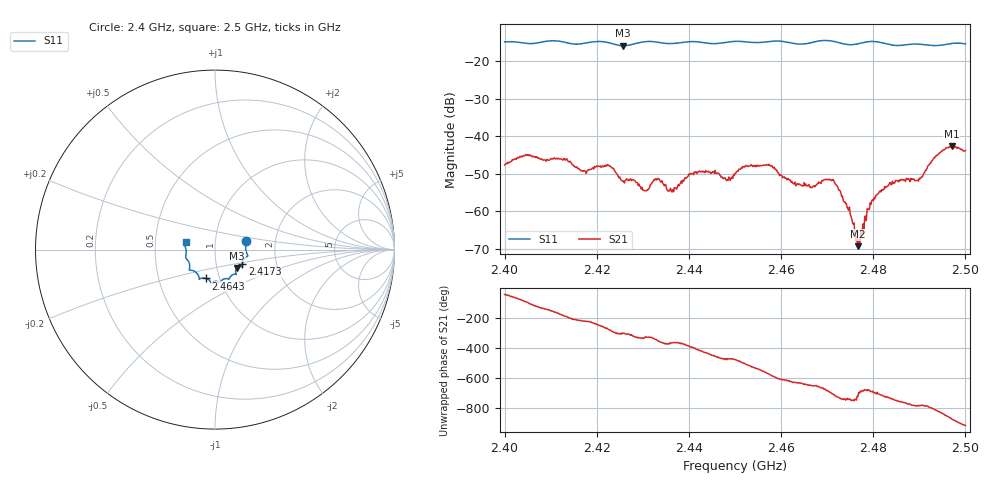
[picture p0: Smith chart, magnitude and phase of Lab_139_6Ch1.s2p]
# Hz S RI R 50
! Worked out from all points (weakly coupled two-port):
!   601 points, 2.4 GHz to 2.5 GHz, reference 50 ohm
!   highest |S21| = -42.71 dB at 2.497 GHz (marker M1); lowest = -69.2 dB at 2.4767 GHz (marker M2)
!   lowest |S11| = -15.9 dB at 2.4257 GHz (marker M3), VSWR 1.38, Z = 62.5 - j13.1 ohm
!   |S11| at or under -10 dB: start of sweep to end of sweep
!   S12 and S22 are empty: the file has one direction only
!   S11 on the Smith chart (normalised r, x): 2.4 GHz: 1.41, +0.14; 2.4173 GHz: 1.34, -0.23; 2.4643 GHz: 0.86, -0.29; 2.5 GHz: 0.72, +0.06
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2.4e9  0.1733 0.0491  0.00285 -0.00303  0 0  0 0
2.405167e9  0.1708 0.0117  -0.00116 -0.00542  0 0  0 0
2.416667e9  0.1528 -0.0745  -0.00266 0.00227  0 0  0 0
2.417333e9  0.152 -0.0819  -0.00251 0.00245  0 0  0 0
2.4225e9  0.149 -0.0945  0.000605 0.00408  0 0  0 0
2.425667e9  0.1227 -0.1024  0.00149 0.00202  0 0  0 0
2.4305e9  0.1181 -0.1378  0.00161 0.000978  0 0  0 0
2.433333e9  0.1127 -0.137  0.00274 0.00023  0 0  0 0
2.436167e9  0.0928 -0.1437  0.00188 -0.000283  0 0  0 0
2.441667e9  0.0753 -0.1644  0.00199 -0.0025  0 0  0 0
2.45e9  0.0291 -0.181  -0.00168 -0.00273  0 0  0 0
2.457167e9  -0.0151 -0.1808  -0.00345 0.00225  0 0  0 0
2.464333e9  -0.0498 -0.1607  0.000319 0.00222  0 0  0 0
2.466667e9  -0.076 -0.1594  0.000807 0.00191  0 0  0 0
2.471667e9  -0.0878 -0.1591  0.00237 4.82e-05  0 0  0 0
2.474667e9  -0.1033 -0.1294  0.000945 -0.000431  0 0  0 0
2.476667e9  -0.1231 -0.117  0.000343 -4.14e-05  0 0  0 0
2.479833e9  -0.143 -0.1136  0.00126 0.000679  0 0  0 0
2.483333e9  -0.141 -0.0896  0.00219 -0.000503  0 0  0 0
2.489667e9  -0.163 -0.0423  0.000917 -0.00242  0 0  0 0
2.497e9  -0.1697 0.0267  -0.00664 -0.00307  0 0  0 0
2.5e9  -0.1643 0.0426  -0.00609 0.00216  0 0  0 0
